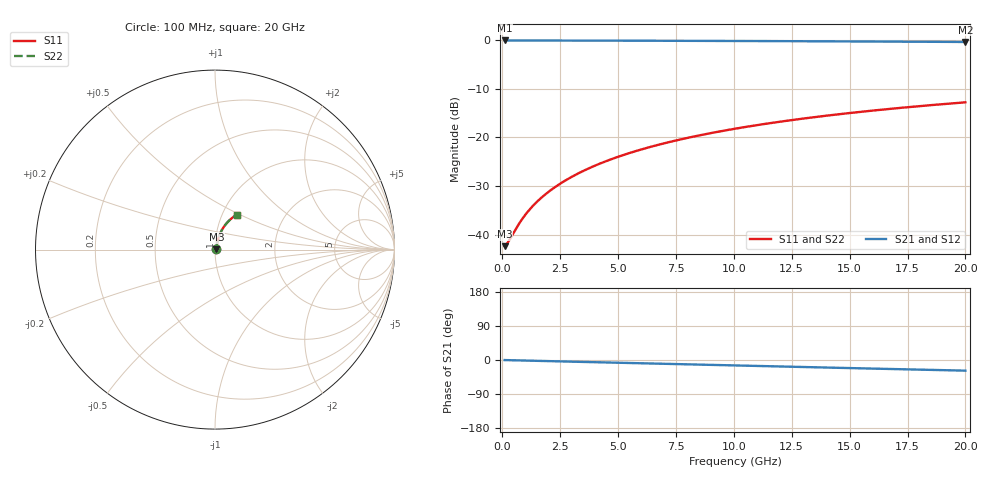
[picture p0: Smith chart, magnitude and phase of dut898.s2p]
! Touchstone file exported from HFSS 2026.1.0
!  File:  C:/ffzhzh/LocalFiles/Ansys_Project_Files/temp_train_TMRDL_898_1783157783_18472.aedt
!  Generated:  05:37:35 PM Jul  4, 2026
!  Design:  TMRDL
!  Project:  temp_train_TMRDL_898_1783157783_18472
! Variables:
!  h_bsmrdl = 2um
!  h_ox = 20um
!  h_rdl = 5um
!  h_sub = 80um
!  h_tmrdl = 2um
!  h_tsv = 80um
!  h_via = 3um
!  l_bsmrdl = 300um
!  l_sub = 842.19um
!  l_tmrdl = 442.19um
!  m_sub = 200um
!  pitch = 19.24um
!  r_tsv = 6um
!  s_tmrdl = 10um
!  w_bsmrdl = 18um
!  w_sub = 500um
!  w_tmrdl = 10.59um
!  x_tsv_center1 = 447.485um
!  x_tsv_center2 = 765.485um
!  x_tsv_center3 = 1218.265um
!  x_tsv_center4 = 1536.265um
!  x_tsv_center5 = 1989.045um
!  x_tsv_center6 = 2307.045um
# GHz S MA R 50.000000
! Terminal data exported
! Port[1] = TM_RDL1_1_T1
! Port[2] = TM_RDL1_1_T2
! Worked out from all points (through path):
!   200 points, 100 MHz to 20 GHz, reference 50 ohm
!   highest |S21| = -0.07 dB at 100 MHz (marker M1); lowest = -0.4 dB at 20 GHz (marker M2)
!   group delay of S21, straight-line fit = 3.9 ps
!   lowest |S11| = -42.3 dB at 100 MHz (marker M3), VSWR 1.02, Z = 50.8 + j0.145 ohm
!   |S11| at or under -10 dB: start of sweep to end of sweep
!   |S22| runs from -42.3 to -12.8 dB; largest |S21 - S12| = 3.8e-15
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0.1  0.007645 10.8  0.9925 -0.2  0.9925 -0.2  0.007645 10.8
! Gamma 0 0 0 0
! Port Impedance 50 0 50 0
0.2  0.00809 20.7  0.9924 -0.3  0.9924 -0.3  0.00809 20.7
0.3  0.008771 29.1  0.9924 -0.5  0.9924 -0.5  0.008771 29.1
0.7  0.01273 49.4  0.9918 -1.1  0.9918 -1.1  0.01273 49.4
0.9  0.01499 54.7  0.9915 -1.4  0.9915 -1.4  0.01499 54.7
1.2  0.01843 59.9  0.9911 -1.8  0.9911 -1.8  0.01843 59.9
1.5  0.02188 63.4  0.9908 -2.2  0.9908 -2.2  0.02188 63.4
1.9  0.02651 66.6  0.9904 -2.8  0.9904 -2.8  0.02651 66.6
2.4  0.03235 69.2  0.99 -3.5  0.99 -3.5  0.03235 69.3
2.9  0.03824 70.9  0.9896 -4.2  0.9896 -4.2  0.03824 71.0
3.5  0.04537 72.2  0.9891 -5.1  0.9891 -5.1  0.04536 72.2
4.2  0.05373 73.0  0.9885 -6.1  0.9885 -6.1  0.05373 73.0
5  0.06332 73.3  0.9877 -7.3  0.9877 -7.3  0.06332 73.3
5.9  0.0741 73.2  0.9867 -8.5  0.9867 -8.5  0.0741 73.2
6.8  0.08485 72.8  0.9856 -9.8  0.9856 -9.8  0.08484 72.8
8.3  0.1026 71.7  0.9834 -12.0  0.9834 -12.0  0.1026 71.7
10.1  0.1236 69.9  0.9804 -14.5  0.9804 -14.5  0.1236 70.0
11.7  0.1419 68.2  0.9774 -16.8  0.9774 -16.8  0.1419 68.2
13.4  0.1609 66.2  0.9738 -19.1  0.9738 -19.1  0.1609 66.2
15  0.1783 64.2  0.9702 -21.3  0.9702 -21.3  0.1783 64.3
16.7  0.1963 62.1  0.9661 -23.6  0.9661 -23.6  0.1963 62.2
20  0.2296 58.0  0.9576 -28.1  0.9576 -28.1  0.2296 58.0
